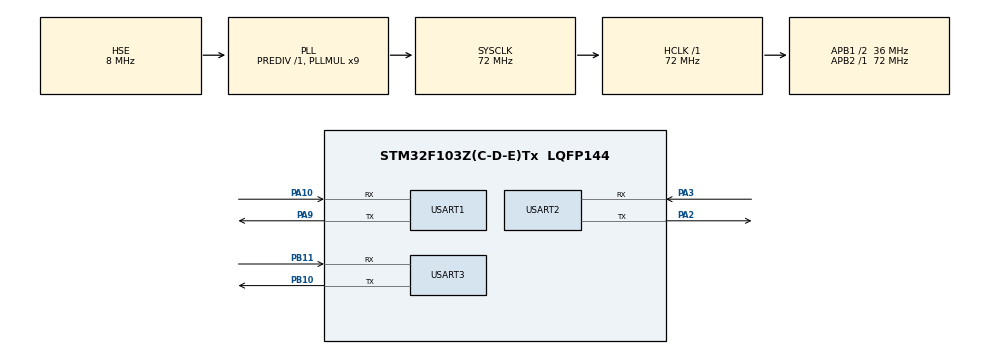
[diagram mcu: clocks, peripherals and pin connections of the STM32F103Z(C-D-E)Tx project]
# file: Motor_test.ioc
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Dma.Request0=USART2_RX
Dma.Request1=USART2_TX
Dma.Request2=USART1_RX
Dma.Request3=USART1_TX
Dma.Request4=USART3_RX
Dma.Request5=USART3_TX
Dma.USART1_RX.2.Direction=DMA_PERIPH_TO_MEMORY
Dma.USART1_RX.2.Instance=DMA1_Channel5
Dma.USART1_RX.2.MemDataAlignment=DMA_MDATAALIGN_BYTE
Dma.USART1_RX.2.MemInc=DMA_MINC_ENABLE
Dma.USART1_RX.2.Mode=DMA_NORMAL
Dma.USART1_RX.2.PeriphDataAlignment=DMA_PDATAALIGN_BYTE
Dma.USART1_RX.2.PeriphInc=DMA_PINC_DISABLE
Dma.USART1_RX.2.Priority=DMA_PRIORITY_LOW
Dma.USART1_TX.3.Direction=DMA_MEMORY_TO_PERIPH
Dma.USART1_TX.3.Instance=DMA1_Channel4
Dma.USART1_TX.3.MemDataAlignment=DMA_MDATAALIGN_BYTE
Dma.USART1_TX.3.MemInc=DMA_MINC_ENABLE
Dma.USART1_TX.3.Mode=DMA_NORMAL
Dma.USART1_TX.3.PeriphDataAlignment=DMA_PDATAALIGN_BYTE
Dma.USART1_TX.3.PeriphInc=DMA_PINC_DISABLE
Dma.USART1_TX.3.Priority=DMA_PRIORITY_LOW
Dma.USART2_RX.0.Direction=DMA_PERIPH_TO_MEMORY
Dma.USART2_RX.0.Instance=DMA1_Channel6
Dma.USART2_RX.0.MemDataAlignment=DMA_MDATAALIGN_BYTE
Dma.USART2_RX.0.MemInc=DMA_MINC_ENABLE
Dma.USART2_RX.0.Mode=DMA_NORMAL
Dma.USART2_RX.0.PeriphDataAlignment=DMA_PDATAALIGN_BYTE
Dma.USART2_RX.0.PeriphInc=DMA_PINC_DISABLE
Dma.USART2_RX.0.Priority=DMA_PRIORITY_LOW
Dma.USART2_TX.1.Direction=DMA_MEMORY_TO_PERIPH
Dma.USART2_TX.1.Instance=DMA1_Channel7
Dma.USART2_TX.1.MemDataAlignment=DMA_MDATAALIGN_BYTE
Dma.USART2_TX.1.MemInc=DMA_MINC_ENABLE
Dma.USART2_TX.1.Mode=DMA_NORMAL
Dma.USART2_TX.1.PeriphDataAlignment=DMA_PDATAALIGN_BYTE
Dma.USART2_TX.1.PeriphInc=DMA_PINC_DISABLE
Dma.USART2_TX.1.Priority=DMA_PRIORITY_LOW
Dma.USART3_RX.4.Direction=DMA_PERIPH_TO_MEMORY
Dma.USART3_RX.4.Instance=DMA1_Channel3
Dma.USART3_RX.4.MemDataAlignment=DMA_MDATAALIGN_BYTE
Dma.USART3_RX.4.MemInc=DMA_MINC_ENABLE
Dma.USART3_RX.4.Mode=DMA_NORMAL
Dma.USART3_RX.4.PeriphDataAlignment=DMA_PDATAALIGN_BYTE
Dma.USART3_RX.4.PeriphInc=DMA_PINC_DISABLE
Dma.USART3_RX.4.Priority=DMA_PRIORITY_LOW
Dma.USART3_TX.5.Direction=DMA_MEMORY_TO_PERIPH
Dma.USART3_TX.5.Instance=DMA1_Channel2
Dma.USART3_TX.5.MemDataAlignment=DMA_MDATAALIGN_BYTE
Dma.USART3_TX.5.MemInc=DMA_MINC_ENABLE
Dma.USART3_TX.5.Mode=DMA_NORMAL
Dma.USART3_TX.5.PeriphDataAlignment=DMA_PDATAALIGN_BYTE
Dma.USART3_TX.5.PeriphInc=DMA_PINC_DISABLE
Dma.USART3_TX.5.Priority=DMA_PRIORITY_LOW
Mcu.Family=STM32F1
Mcu.Name=STM32F103Z(C-D-E)Tx
Mcu.Package=LQFP144
NVIC.DMA1_Channel2_IRQn=true\:0\:0\:false\:false\:true\:false\:true\:true
NVIC.DMA1_Channel3_IRQn=true\:0\:0\:false\:false\:true\:false\:true\:true
NVIC.DMA1_Channel4_IRQn=true\:0\:0\:false\:false\:true\:false\:true\:true
NVIC.DMA1_Channel5_IRQn=true\:0\:0\:false\:false\:true\:false\:true\:true
NVIC.DMA1_Channel6_IRQn=true\:0\:0\:false\:false\:true\:false\:true\:true
NVIC.DMA1_Channel7_IRQn=true\:0\:0\:false\:false\:true\:false\:true\:true
NVIC.PriorityGroup=NVIC_PRIORITYGROUP_4
NVIC.USART2_IRQn=true\:0\:0\:false\:false\:true\:false\:true\:true
OSC_IN.Mode=HSE-External-Oscillator
OSC_IN.Signal=RCC_OSC_IN
OSC_OUT.Mode=HSE-External-Oscillator
OSC_OUT.Signal=RCC_OSC_OUT
PA10.Mode=Asynchronous
PA10.Signal=USART1_RX
PA2.Mode=Asynchronous
PA2.Signal=USART2_TX
PA3.Mode=Asynchronous
PA3.Signal=USART2_RX
PA9.Mode=Asynchronous
PA9.Signal=USART1_TX
PB10.Mode=Asynchronous
PB10.Signal=USART3_TX
PB11.Mode=Asynchronous
PB11.Signal=USART3_RX
ProjectManager.HeapSize=0x200
ProjectManager.StackSize=0x400
ProjectManager.TargetToolchain=MDK-ARM V5
RCC.AHBFreq_Value=72000000
RCC.APB1CLKDivider=RCC_HCLK_DIV2
RCC.APB1Freq_Value=36000000
RCC.APB1TimFreq_Value=72000000
RCC.APB2Freq_Value=72000000
RCC.APB2TimFreq_Value=72000000
RCC.HCLKFreq_Value=72000000
RCC.PLLMUL=RCC_PLL_MUL9
RCC.PLLSourceVirtual=RCC_PLLSOURCE_HSE
RCC.SYSCLKFreq_VALUE=72000000
RCC.SYSCLKSource=RCC_SYSCLKSOURCE_PLLCLK
RCC.USBFreq_Value=72000000
USART1.VirtualMode=VM_ASYNC
USART2.VirtualMode=VM_ASYNC
USART3.VirtualMode=VM_ASYNC
VP_SYS_VS_ND.Mode=No_Debug
board=custom

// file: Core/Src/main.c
/* USER CODE BEGIN Header */
/**
  ******************************************************************************
  * @file           : main.c
  * @brief          : Main program body
  ******************************************************************************
  * @attention
  *
  * Copyright (c) 2024 STMicroelectronics.
  * All rights reserved.
  *
  * This software is licensed under terms that can be found in the LICENSE file
  * in the root directory of this software component.
  * If no LICENSE file comes with this software, it is provided AS-IS.
  *
  ******************************************************************************
  */
/* USER CODE END Header */
#include "main.h"
#include "dma.h"
#include "usart.h"
#include "gpio.h"

/* USER CODE BEGIN Includes */
#include "soft_user.h"
#include "Emm_V5.h"

/* USER CODE END Includes */

void SystemClock_Config(void);

int main(void)
{

  /* USER CODE BEGIN 1 */
    delay(2000);
  /* USER CODE END 1 */

  /* MCU Configuration--------------------------------------------------------*/

  /* Reset of all peripherals, Initializes the Flash interface and the Systick. */
  HAL_Init();

  /* Configure the system clock */
  SystemClock_Config();

  /* Initialize all configured peripherals */
  MX_GPIO_Init();
  MX_DMA_Init();
  MX_USART2_UART_Init();
  MX_USART1_UART_Init();
  MX_USART3_UART_Init();
  /* USER CODE BEGIN 2 */
  Emm_V5_Pos_Control(1, 1, 1000, 0, 20000, 0, 1);
	delay(20);
	Emm_V5_Pos_Control(2, 1, 1000, 0, 20000, 0, 1);
	delay(20);
	Emm_V5_Pos_Control(3, 1, 1000, 0, 20000, 0, 1);
	delay(20);
	Emm_V5_Pos_Control(4, 1, 1000, 0, 20000, 0, 1);
	delay(20);
	//Emm_V5_Vel_Control(2, 1, 1000, 10, 1);delay_ms(20);
	Emm_V5_Synchronous_motion(0);
	delay(3000);
	Emm_V5_Stop_Now(0,1);delay(20);
	Emm_V5_Synchronous_motion(0);
  /* USER CODE END 2 */

  /* Infinite loop */
  while (1)
  {

  }
}

void SystemClock_Config(void)
{
  RCC_OscInitTypeDef RCC_OscInitStruct = {0};
  RCC_ClkInitTypeDef RCC_ClkInitStruct = {0};

  /** Initializes the RCC Oscillators according to the specified parameters
  * in the RCC_OscInitTypeDef structure.
  */
  RCC_OscInitStruct.OscillatorType = RCC_OSCILLATORTYPE_HSE;
  RCC_OscInitStruct.HSEState = RCC_HSE_ON;
  RCC_OscInitStruct.HSEPredivValue = RCC_HSE_PREDIV_DIV1;
  RCC_OscInitStruct.HSIState = RCC_HSI_ON;
  RCC_OscInitStruct.PLL.PLLState = RCC_PLL_ON;
  RCC_OscInitStruct.PLL.PLLSource = RCC_PLLSOURCE_HSE;
  RCC_OscInitStruct.PLL.PLLMUL = RCC_PLL_MUL9;
  if (HAL_RCC_OscConfig(&RCC_OscInitStruct) != HAL_OK)
  {
    Error_Handler();
  }

  /** Initializes the CPU, AHB and APB buses clocks
  */
  RCC_ClkInitStruct.ClockType = RCC_CLOCKTYPE_HCLK|RCC_CLOCKTYPE_SYSCLK
                              |RCC_CLOCKTYPE_PCLK1|RCC_CLOCKTYPE_PCLK2;
  RCC_ClkInitStruct.SYSCLKSource = RCC_SYSCLKSOURCE_PLLCLK;
  RCC_ClkInitStruct.AHBCLKDivider = RCC_SYSCLK_DIV1;
  RCC_ClkInitStruct.APB1CLKDivider = RCC_HCLK_DIV2;
  RCC_ClkInitStruct.APB2CLKDivider = RCC_HCLK_DIV1;

  if (HAL_RCC_ClockConfig(&RCC_ClkInitStruct, FLASH_LATENCY_2) != HAL_OK)
  {
    Error_Handler();
  }
}

void Error_Handler(void)
{
  __disable_irq();
  while (1)
  {
  }
}
